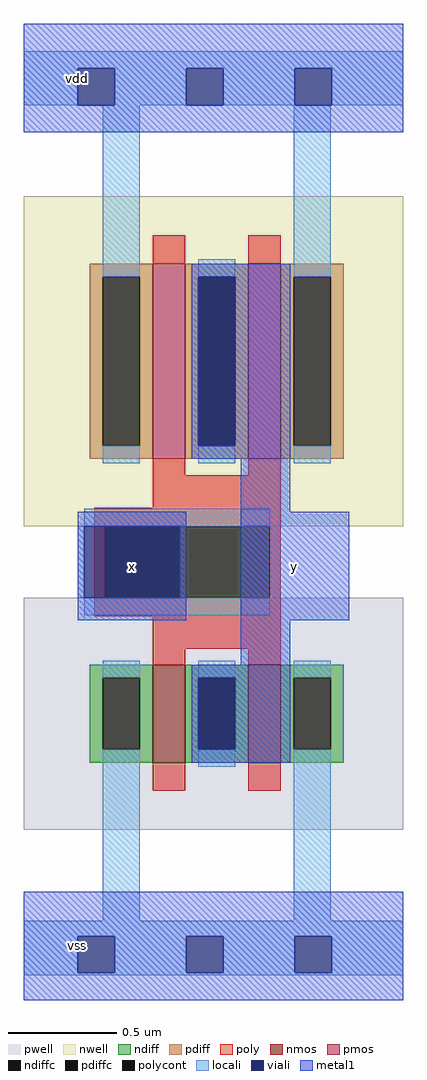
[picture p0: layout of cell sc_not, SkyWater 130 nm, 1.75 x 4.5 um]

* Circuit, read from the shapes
.subckt sc_not vdd vss x y
XM1 y x vss VSUBS sky130_fd_pr__nfet_01v8 w=0.45 l=0.15 m=2
XM2 y x vdd n1 sky130_fd_pr__pfet_01v8 w=0.9 l=0.15 m=2
.ends

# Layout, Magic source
magic
tech sky130A
magscale 1 2
<< nwell >>
rect 550 -763 900 -459
<< pwell >>
rect 550 -1043 900 -829
<< poly >>
rect 615 -763 787 -746
rect 615 -829 625 -763
rect 777 -829 787 -763
rect 615 -846 787 -829
<< polycont >>
rect 625 -829 777 -763
<< locali >>
rect 550 -341 900 -325
rect 550 -375 600 -341
rect 634 -375 700 -341
rect 734 -375 800 -341
rect 834 -375 900 -341
rect 623 -517 657 -375
rect 799 -517 833 -375
rect 606 -763 777 -747
rect 600 -829 606 -763
rect 606 -845 777 -829
rect 623 -1127 657 -985
rect 799 -1127 833 -985
rect 550 -1141 900 -1127
rect 550 -1175 600 -1141
rect 634 -1175 700 -1141
rect 734 -1175 800 -1141
rect 834 -1175 900 -1141
rect 550 -1177 900 -1175
<< viali >>
rect 600 -375 634 -341
rect 700 -375 734 -341
rect 800 -375 834 -341
rect 606 -829 625 -763
rect 625 -829 694 -763
rect 600 -1175 634 -1141
rect 700 -1175 734 -1141
rect 800 -1175 834 -1141
<< metal1 >>
rect 550 -341 900 -300
rect 550 -375 600 -341
rect 634 -375 700 -341
rect 734 -375 800 -341
rect 834 -375 900 -341
rect 550 -400 900 -375
rect 750 -750 796 -521
rect 600 -763 700 -750
rect 600 -829 606 -763
rect 694 -829 700 -763
rect 600 -850 700 -829
rect 750 -850 850 -750
rect 750 -981 796 -850
rect 550 -1141 900 -1100
rect 550 -1175 600 -1141
rect 634 -1175 700 -1141
rect 734 -1175 800 -1141
rect 834 -1175 900 -1141
rect 550 -1200 900 -1175
use sky130_fd_pr__nfet_01v8_scc_inv_m2  sky130_fd_pr__nfet_01v8_scc_inv_m2_0
transform 1 0 -842 0 1 -137
box 1453 -870 1687 -709
use sky130_fd_pr__pfet_01v8_scc_inv_m1  sky130_fd_pr__pfet_01v8_scc_inv_m1_0
transform 1 0 -795 0 1 167
box 1370 -930 1676 -626
<< labels >>
flabel metal1 550 -400 650 -300 0 FreeSans 200 0 0 0 vdd
port 1 nsew
flabel metal1 550 -1200 650 -1100 0 FreeSans 200 0 0 0 vss
port 2 nsew
flabel metal1 600 -850 700 -750 0 FreeSans 200 0 0 0 x
port 3 nsew
flabel metal1 750 -850 850 -750 0 FreeSans 200 0 0 0 y
port 4 nsew
<< end >>

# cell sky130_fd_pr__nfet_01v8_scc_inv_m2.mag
magic
tech sky130A
magscale 1 2
<< nmos >>
rect 1511 -844 1541 -754
rect 1599 -844 1629 -754
<< ndiff >>
rect 1453 -766 1511 -754
rect 1453 -832 1465 -766
rect 1499 -832 1511 -766
rect 1453 -844 1511 -832
rect 1541 -766 1599 -754
rect 1541 -832 1553 -766
rect 1587 -832 1599 -766
rect 1541 -844 1599 -832
rect 1629 -766 1687 -754
rect 1629 -832 1641 -766
rect 1675 -832 1687 -766
rect 1629 -844 1687 -832
<< ndiffc >>
rect 1465 -832 1499 -766
rect 1553 -832 1587 -766
rect 1641 -832 1675 -766
<< poly >>
rect 1511 -739 1629 -709
rect 1511 -754 1541 -739
rect 1599 -754 1629 -739
rect 1511 -870 1541 -844
rect 1599 -870 1629 -844
<< locali >>
rect 1465 -766 1499 -750
rect 1465 -848 1499 -832
rect 1553 -766 1587 -750
rect 1553 -848 1587 -832
rect 1641 -766 1675 -750
rect 1641 -848 1675 -832
<< viali >>
rect 1553 -832 1587 -766
<< metal1 >>
rect 1547 -766 1593 -754
rect 1547 -832 1553 -766
rect 1587 -832 1593 -766
rect 1547 -844 1593 -832
<< labels >>
rlabel ndiffc 1570 -799 1570 -799 0 D1
port 3 nsew
rlabel ndiffc 1658 -799 1658 -799 0 S1
port 4 nsew
rlabel ndiffc 1570 -799 1570 -799 0 D0
port 1 nsew
rlabel ndiffc 1482 -799 1482 -799 0 S0
port 2 nsew
<< end >>

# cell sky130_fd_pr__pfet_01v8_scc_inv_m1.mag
magic
tech sky130A
magscale 1 2
<< nwell >>
rect 1370 -930 1676 -626
<< pmos >>
rect 1464 -868 1494 -688
rect 1552 -868 1582 -688
<< pdiff >>
rect 1406 -700 1464 -688
rect 1406 -856 1418 -700
rect 1452 -856 1464 -700
rect 1406 -868 1464 -856
rect 1494 -700 1552 -688
rect 1494 -856 1506 -700
rect 1540 -856 1552 -700
rect 1494 -868 1552 -856
rect 1582 -700 1640 -688
rect 1582 -856 1594 -700
rect 1628 -856 1640 -700
rect 1582 -868 1640 -856
<< pdiffc >>
rect 1418 -856 1452 -700
rect 1506 -856 1540 -700
rect 1594 -856 1628 -700
<< poly >>
rect 1464 -688 1494 -662
rect 1552 -688 1582 -662
rect 1464 -883 1494 -868
rect 1552 -883 1582 -868
rect 1464 -913 1582 -883
<< locali >>
rect 1418 -700 1452 -684
rect 1418 -872 1452 -856
rect 1506 -700 1540 -684
rect 1506 -872 1540 -856
rect 1594 -700 1628 -684
rect 1594 -872 1628 -856
<< viali >>
rect 1506 -856 1540 -700
<< metal1 >>
rect 1500 -700 1546 -688
rect 1500 -856 1506 -700
rect 1540 -856 1546 -700
rect 1500 -868 1546 -856
<< labels >>
rlabel pdiffc 1523 -778 1523 -778 0 D1
port 3 nsew
rlabel pdiffc 1611 -778 1611 -778 0 S1
port 4 nsew
rlabel pdiffc 1523 -778 1523 -778 0 D0
port 1 nsew
rlabel pdiffc 1435 -778 1435 -778 0 S0
port 2 nsew
<< end >>
